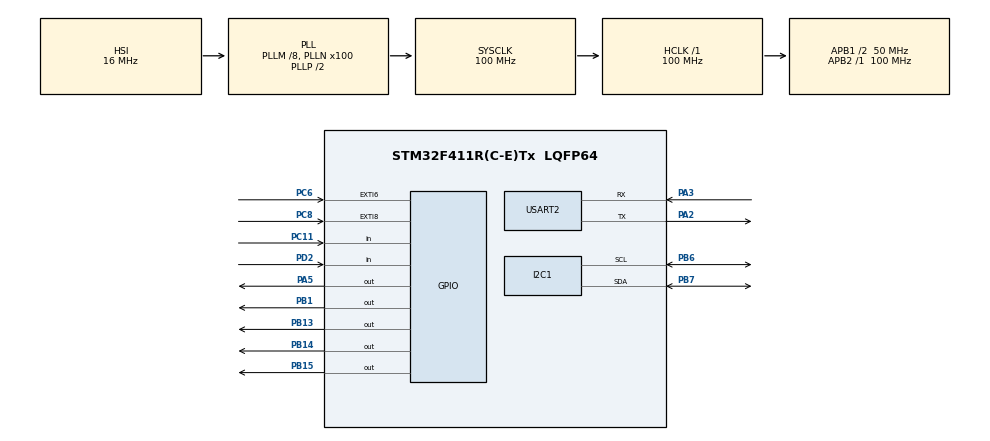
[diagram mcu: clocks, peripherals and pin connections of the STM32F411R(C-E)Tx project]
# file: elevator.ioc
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Mcu.Family=STM32F4
Mcu.Name=STM32F411R(C-E)Tx
Mcu.Package=LQFP64
NVIC.EXTI9_5_IRQn=true\:0\:0\:false\:false\:true\:true\:true\:true
NVIC.PriorityGroup=NVIC_PRIORITYGROUP_4
NVIC.USART2_IRQn=true\:0\:0\:false\:false\:true\:true\:true\:true
PA13.Mode=Serial_Wire
PA13.Signal=SYS_JTMS-SWDIO
PA14.Mode=Serial_Wire
PA14.Signal=SYS_JTCK-SWCLK
PA2.Mode=Asynchronous
PA2.Signal=USART2_TX
PA3.Mode=Asynchronous
PA3.Signal=USART2_RX
PA5.Signal=GPIO_Output
PB1.GPIO_Speed=GPIO_SPEED_FREQ_HIGH
PB1.PinState=GPIO_PIN_RESET
PB1.Signal=GPIO_Output
PB13.GPIO_Speed=GPIO_SPEED_FREQ_HIGH
PB13.PinState=GPIO_PIN_RESET
PB13.Signal=GPIO_Output
PB14.GPIO_Speed=GPIO_SPEED_FREQ_HIGH
PB14.PinState=GPIO_PIN_RESET
PB14.Signal=GPIO_Output
PB15.GPIO_Speed=GPIO_SPEED_FREQ_HIGH
PB15.PinState=GPIO_PIN_RESET
PB15.Signal=GPIO_Output
PB6.Mode=I2C
PB6.Signal=I2C1_SCL
PB7.Mode=I2C
PB7.Signal=I2C1_SDA
PC11.GPIO_PuPd=GPIO_PULLDOWN
PC11.Signal=GPIO_Input
PC6.GPIO_PuPd=GPIO_PULLUP
PC6.Signal=GPXTI6
PC8.GPIO_PuPd=GPIO_PULLUP
PC8.Signal=GPXTI8
PD2.GPIO_PuPd=GPIO_PULLDOWN
PD2.Signal=GPIO_Input
PH0\ -\ OSC_IN.Mode=HSE-External-Oscillator
PH0\ -\ OSC_IN.Signal=RCC_OSC_IN
PH1\ -\ OSC_OUT.Mode=HSE-External-Oscillator
PH1\ -\ OSC_OUT.Signal=RCC_OSC_OUT
ProjectManager.HeapSize=0x200
ProjectManager.StackSize=0x400
ProjectManager.TargetToolchain=STM32CubeIDE
RCC.48MHZClocksFreq_Value=50000000
RCC.AHBFreq_Value=100000000
RCC.APB1CLKDivider=RCC_HCLK_DIV2
RCC.APB1Freq_Value=50000000
RCC.APB1TimFreq_Value=100000000
RCC.APB2Freq_Value=100000000
RCC.APB2TimFreq_Value=100000000
RCC.CortexFreq_Value=100000000
RCC.HCLKFreq_Value=100000000
RCC.HSE_VALUE=8000000
RCC.HSI_VALUE=16000000
RCC.LSE_VALUE=32768
RCC.PLLM=8
RCC.PLLN=100
RCC.SYSCLKFreq_VALUE=100000000
RCC.SYSCLKSource=RCC_SYSCLKSOURCE_PLLCLK
RCC.VCOOutputFreq_Value=200000000
TIM11.Prescaler=99
USART2.VirtualMode=VM_ASYNC
VP_TIM11_VS_ClockSourceINT.Mode=Enable_Timer
board=custom

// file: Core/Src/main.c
/* USER CODE BEGIN Header */
/**
  ******************************************************************************
  * @file           : main.c
  * @brief          : Main program body
  ******************************************************************************
  * @attention
  *
  * Copyright (c) 2025 STMicroelectronics.
  * All rights reserved.
  *
  * This software is licensed under terms that can be found in the LICENSE file
  * in the root directory of this software component.
  * If no LICENSE file comes with this software, it is provided AS-IS.
  *
  ******************************************************************************
  */
/* USER CODE END Header */
#include "main.h"
#include "i2c.h"
#include "tim.h"
#include "usart.h"
#include "gpio.h"

/* USER CODE BEGIN Includes */

#include "stepper.h"
#include "stdio.h"
#include "i2c_lcd.h"
/* USER CODE END Includes */

/* USER CODE BEGIN PTD */

// Elevator status enum
typedef enum {
    IDLE,
    MOVING
} ElevatorStatus;

// Floor location enum
typedef enum {
    FIRST_FLR,
    SECOND_FLR
} FloorLocation;

// Elevator state struct
typedef struct {
    ElevatorStatus status;
    FloorLocation location;
} ElevatorState;

/* USER CODE END PTD */

/* USER CODE BEGIN PM */

#ifdef __GNUC__
/* With GCC, small printf (option LD Linker->Libraries->Small printf
     set to 'Yes') calls __io_putchar() */
#define PUTCHAR_PROTOTYPE int __io_putchar(int ch)
#else
#define PUTCHAR_PROTOTYPE int fputc(int ch, FILE *f)
#endif /* __GNUC__ */

PUTCHAR_PROTOTYPE
{
  /* Place your implementation of fputc here */
  /* e.g. write a character to the EVAL_COM1 and Loop until the end of transmission */
  HAL_UART_Transmit(&huart2, (uint8_t *)&ch, 1, 0xFFFF);

  return ch;
}

/* USER CODE END PM */

/* USER CODE BEGIN PV */
ElevatorState currentState = {IDLE, FIRST_FLR};  // Initialize at first floor, idle
uint8_t upButtonPressed = 0;   // Flag for up button
uint8_t downButtonPressed = 0; // Flag for down button

/* USER CODE END PV */

void SystemClock_Config(void);
/* USER CODE BEGIN PFP */

void HAL_GPIO_EXTI_Callback(uint16_t GPIO_Pin)
{
  if(GPIO_Pin == GPIO_PIN_8)  // Down Button
  {
    if(currentState.status == IDLE && currentState.location != FIRST_FLR)
    {
      downButtonPressed = 1;
      currentState.status = MOVING;
      printf("Down button pressed - Moving to first floor\r\n");
    }
  }
  else if(GPIO_Pin == GPIO_PIN_6)  // Up Button
  {
    if(currentState.status == IDLE && currentState.location != SECOND_FLR)
    {
      upButtonPressed = 1;
      currentState.status = MOVING;
      printf("Up button pressed - Moving to second floor\r\n");
    }
  }
  HAL_GPIO_TogglePin(GPIOA, GPIO_PIN_5);
}

/* USER CODE END PFP */

/* USER CODE BEGIN 0 */
uint8_t DATA;
#define DEBOUNCE_DELAY 30

/* USER CODE END 0 */

int main(void)
{

  /* MCU Configuration--------------------------------------------------------*/

  /* Reset of all peripherals, Initializes the Flash interface and the Systick. */
  HAL_Init();

  /* Configure the system clock */
  SystemClock_Config();

  /* Initialize all configured peripherals */
  MX_GPIO_Init();
  MX_USART2_UART_Init();
  MX_TIM11_Init();
  MX_I2C1_Init();
  /* USER CODE BEGIN 2 */
  i2cInit();

  /* USER CODE END 2 */

  /* Infinite loop */
  /* USER CODE BEGIN WHILE */
  while (1)
  {
    // Check if elevator needs to move based on current state
    if (currentState.status == MOVING)
    {
      if (upButtonPressed)
      {
        rotateDegrees(1, DIR_CW);  // Move up
        moveCursor(0, 0);
        lcdString("going !!");
        moveCursor(1, 0);
        lcdString("up !!");
      }
      else if(downButtonPressed)
      {
        rotateDegrees(1, DIR_CCW);  // Move down
        moveCursor(0, 0);
        lcdString("going !!");
        moveCursor(1, 0);
        lcdString("down !!");
      }
      delay_us(2);  // Small delay for smooth rotation
    }

    // Check photo sensor states for elevator control
    if (HAL_GPIO_ReadPin(GPIOD, GPIO_PIN_2) == GPIO_PIN_SET && HAL_GPIO_ReadPin(GPIOC, GPIO_PIN_11) == GPIO_PIN_RESET) // 1층 포토센서 입력이 1, 2층 포토센서 입력이 0
    {
        if (currentState.status == MOVING && downButtonPressed)
        {
            currentState.status = IDLE;
            currentState.location = FIRST_FLR;
            downButtonPressed = 0;
            moveCursor(0, 0);
            lcdString("1st !!");
            moveCursor(1, 0);
            lcdString("floor !!");
            printf("Reached first floor - Elevator stopped\r\n");
        }
    }
    else if (HAL_GPIO_ReadPin(GPIOD, GPIO_PIN_2) == GPIO_PIN_RESET && HAL_GPIO_ReadPin(GPIOC, GPIO_PIN_11) == GPIO_PIN_SET) // 1층 포토센서 입력이 0, 2층 포토센서 입력이 1
    {
        if (currentState.status == MOVING && upButtonPressed)
        {
            currentState.status = IDLE;
            currentState.location = SECOND_FLR;
            upButtonPressed = 0;
            moveCursor(0, 0);
            lcdString("2nd !!");
            moveCursor(1, 0);
            lcdString("floor !!");
            printf("Reached second floor - Elevator stopped\r\n");
        }
    }
    /* USER CODE END WHILE */

  }
}

void SystemClock_Config(void)
{
  RCC_OscInitTypeDef RCC_OscInitStruct = {0};
  RCC_ClkInitTypeDef RCC_ClkInitStruct = {0};

  /** Configure the main internal regulator output voltage
  */
  __HAL_RCC_PWR_CLK_ENABLE();
  __HAL_PWR_VOLTAGESCALING_CONFIG(PWR_REGULATOR_VOLTAGE_SCALE1);

  /** Initializes the RCC Oscillators according to the specified parameters
  * in the RCC_OscInitTypeDef structure.
  */
  RCC_OscInitStruct.OscillatorType = RCC_OSCILLATORTYPE_HSI;
  RCC_OscInitStruct.HSIState = RCC_HSI_ON;
  RCC_OscInitStruct.HSICalibrationValue = RCC_HSICALIBRATION_DEFAULT;
  RCC_OscInitStruct.PLL.PLLState = RCC_PLL_ON;
  RCC_OscInitStruct.PLL.PLLSource = RCC_PLLSOURCE_HSI;
  RCC_OscInitStruct.PLL.PLLM = 8;
  RCC_OscInitStruct.PLL.PLLN = 100;
  RCC_OscInitStruct.PLL.PLLP = RCC_PLLP_DIV2;
  RCC_OscInitStruct.PLL.PLLQ = 4;
  if (HAL_RCC_OscConfig(&RCC_OscInitStruct) != HAL_OK)
  {
    Error_Handler();
  }

  /** Initializes the CPU, AHB and APB buses clocks
  */
  RCC_ClkInitStruct.ClockType = RCC_CLOCKTYPE_HCLK|RCC_CLOCKTYPE_SYSCLK
                              |RCC_CLOCKTYPE_PCLK1|RCC_CLOCKTYPE_PCLK2;
  RCC_ClkInitStruct.SYSCLKSource = RCC_SYSCLKSOURCE_PLLCLK;
  RCC_ClkInitStruct.AHBCLKDivider = RCC_SYSCLK_DIV1;
  RCC_ClkInitStruct.APB1CLKDivider = RCC_HCLK_DIV2;
  RCC_ClkInitStruct.APB2CLKDivider = RCC_HCLK_DIV1;

  if (HAL_RCC_ClockConfig(&RCC_ClkInitStruct, FLASH_LATENCY_3) != HAL_OK)
  {
    Error_Handler();
  }
}

void Error_Handler(void)
{
  __disable_irq();
  while (1)
  {
  }
}
